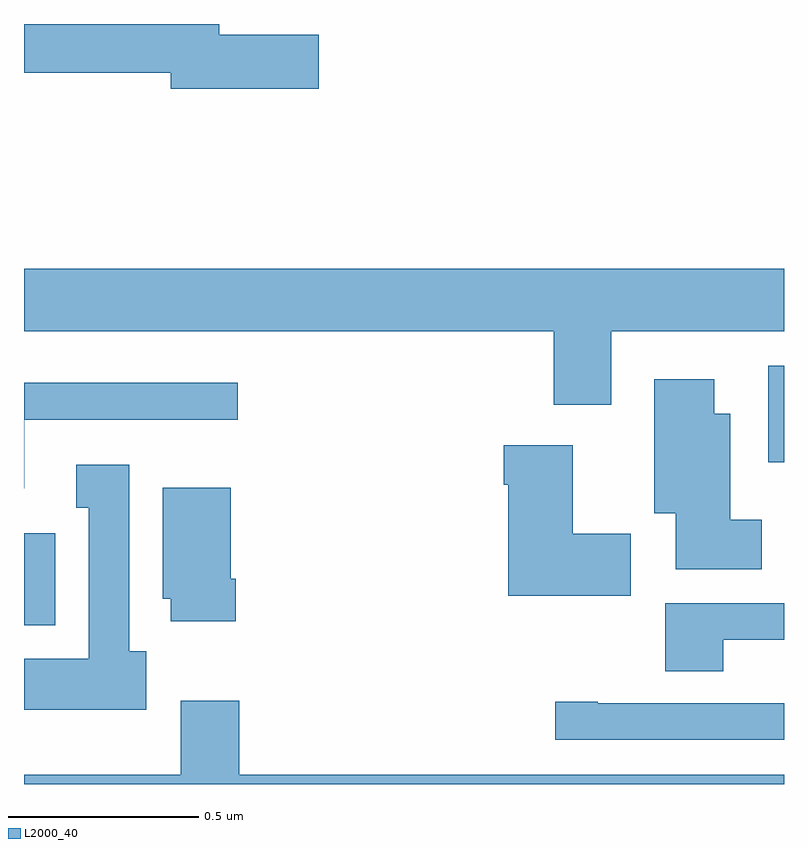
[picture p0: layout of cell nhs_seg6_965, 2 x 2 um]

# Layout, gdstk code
import gdstk
lib = gdstk.Library(unit=1e-6, precision=1e-09)
def R(c, l, rs):  # rectangles x0, y0, x1, y1
    for r in rs: c.add(gdstk.rectangle(r[:2], r[2:], *l))
def P(c, l, *ps):  # polygons
    for p in ps: c.add(gdstk.Polygon(p, *l))
L2000_40 = (2000, 40)

nhs_seg6_965 = lib.new_cell('nhs_seg6_965')
R(nhs_seg6_965, L2000_40, [(123,923.918,123.082,924.16), (124.958,924.347,125,924.601)])
P(nhs_seg6_965, L2000_40, [(123.775,925.472),(123.514,925.472),(123.514,925.5),(123,925.5),(123,925.372),(123.386,925.372),(123.386,925.33),(123.775,925.33)],
  [(124.546,924.692),(125,924.692),(125,924.856),(123,924.856),(123,924.692),(124.394,924.692),(124.394,924.498),(124.546,924.498)],
  [(124.942,924.196),(124.858,924.196),(124.858,924.475),(124.816,924.475),(124.816,924.565),(124.658,924.565),(124.658,924.212),(124.715,924.212),(124.715,924.065),(124.942,924.065)],
  [(123.001,924.459),(123.562,924.459),(123.562,924.556),(123,924.556),(123,924.278),(123.001,924.278)],
  [(124.597,924.159),(124.444,924.159),(124.444,924.391),(124.262,924.391),(124.262,924.287),(124.274,924.287),(124.274,923.996),(124.597,923.996)],
  [(123.322,923.85),(123.277,923.85),(123.277,924.34),(123.137,924.34),(123.137,924.227),(123.17,924.227),(123.17,923.83),(123,923.83),(123,923.696),(123.322,923.696)],
  [(123.557,924.04),(123.544,924.04),(123.544,924.28),(123.365,924.28),(123.365,923.988),(123.386,923.988),(123.386,923.928),(123.557,923.928)],
  [(124.84,923.88),(125,923.88),(125,923.976),(124.688,923.976),(124.688,923.797),(124.84,923.797)],
  [(125,923.524),(123.566,923.524),(123.566,923.719),(123.413,923.719),(123.413,923.524),(123,923.524),(123,923.5),(125,923.5)],
  [(125,923.712),(124.51,923.712),(124.51,923.717),(124.398,923.717),(124.398,923.616),(125,923.616)])

lib.write_gds('nhs_seg6_965.gds')
